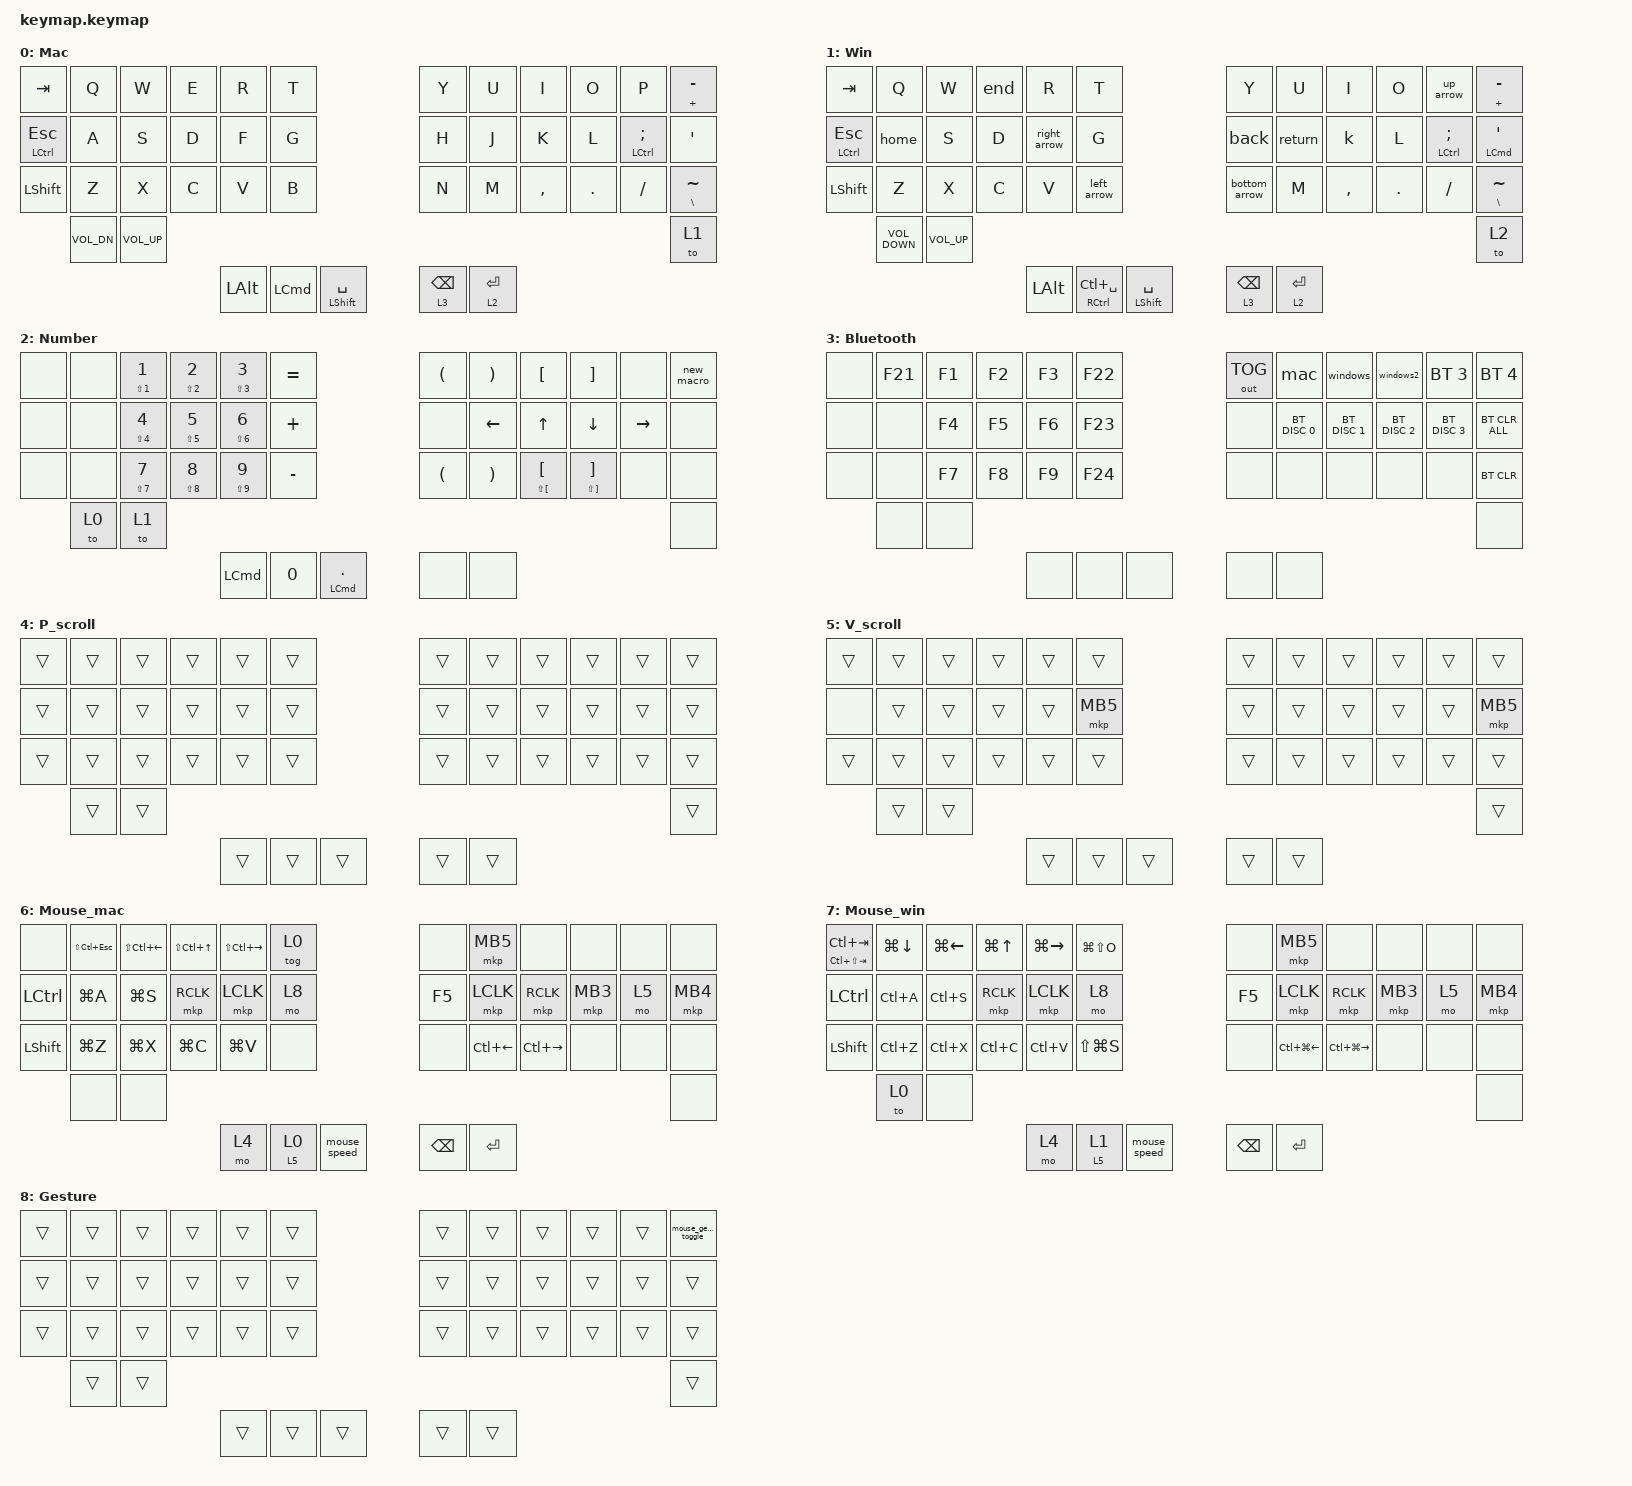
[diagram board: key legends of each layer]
#include <input/processors.dtsi>
#include <mouse-gesture.dtsi>
#include <input/processors.dtsi>
#include <behaviors.dtsi>
#include <dt-bindings/zmk/bt.h>
#include <dt-bindings/zmk/keys.h>
#include <dt-bindings/zmk/outputs.h>
#include <dt-bindings/zmk/pointing.h>

&mkp_input_listener { input-processors = <&zip_temp_layer 6 400>; };

&zip_mouse_gesture {
    stroke-size = <300>;
    enable-eager-mode;
    gesture-cooldown-ms = <10>;
    movement-threshold = <1>;

    history_back {
        pattern = <GESTURE_RIGHT>;
        bindings = <&kp LC(TAB)>;
    };

    history_forward {
        pattern = <GESTURE_LEFT>;
        bindings = <&kp LC(LS(TAB))>;
    };

    close_tab {
        pattern = <GESTURE_DOWN>;
        bindings = <&kp LC(MINUS)>;
    };

    new_tab {
        pattern = <GESTURE_UP>;
        bindings = <&kp LC(PLUS)>;
    };
};

/ {
    combos {
        compatible = "zmk,combos";
        combo_term = <250>;  // 250ミリ秒に設定
    };

    macros {
        new_macro: new_macro {
            compatible = "zmk,behavior-macro";
            #binding-cells = <0>;
            bindings = <&none &kp LS(T) &kp N2 &kp LS(E) &kp LS(E) &kp N2 &kp B &kp LS(V) &kp E &kp LS(N) &kp S &kp EXCL &kp LS(T)>;
            label = "NEW_MACRO";
        };

        mac: bt1 {
            compatible = "zmk,behavior-macro";
            #binding-cells = <0>;
            bindings = <&bt BT_SEL 0 &to 0>, <&macro_tap>;

            label = "BT1";
        };

        windows: windows {
            compatible = "zmk,behavior-macro";
            #binding-cells = <0>;
            bindings = <&bt BT_SEL 1 &tog 1>;
            label = "WINDOWS";
        };

        windows2: wondows2 {
            compatible = "zmk,behavior-macro";
            #binding-cells = <0>;
            bindings = <&bt BT_SEL 2 &tog 1>;
            label = "WONDOWS2";
        };

        control_k: control_k {
            compatible = "zmk,behavior-macro";
            #binding-cells = <0>;
            bindings = <&kp LC(LS(END)) &kp BACKSPACE>, <&macro_press>;

            label = "CONTROL_K";
        };

        zoom_win: zoom_win {
            compatible = "zmk,behavior-macro";
            #binding-cells = <0>;
            bindings = <&to 5 &kp LEFT_CONTROL>, <&macro_press>;

            label = "ZOOM_WIN";
        };

        zoom_mac: zoom_mac {
            compatible = "zmk,behavior-macro";
            #binding-cells = <0>;
            bindings = <&to 5 &mkp MB5>, <&macro_press>;

            label = "ZOOM_MAC";
        };
    };

    behaviors {
        new_behavior1: new_behavior1 {
            compatible = "zmk,behavior-tap-dance";
            label = "NEW_BEHAVIOR1";
            #binding-cells = <0>;
            bindings = <&kp BACKSPACE>, <&tog 1>;
        };

        new_hold_tap: new_hold_tap {
            compatible = "zmk,behavior-hold-tap";
            label = "NEW_HOLD_TAP";
            bindings = <&mo>, <&tog>;

            #binding-cells = <2>;
            tapping-term-ms = <0>;
        };

        back: back {
            compatible = "zmk,behavior-mod-morph";
            label = "BACK";
            bindings = <&kp H>, <&kp BACKSPACE>;

            #binding-cells = <0>;
            mods = <(MOD_LCTL)>;
        };

        return: return {
            compatible = "zmk,behavior-mod-morph";
            label = "RETURN";
            bindings = <&kp J>, <&kp RETURN>;

            #binding-cells = <0>;
            mods = <(MOD_LCTL)>;
        };

        bottom_arrow: bottom_arrow {
            compatible = "zmk,behavior-mod-morph";
            label = "BOTTOM_ARROW";
            bindings = <&kp N>, <&kp DOWN_ARROW>;

            #binding-cells = <0>;
            mods = <(MOD_LCTL)>;
        };

        up_arrow: up_arrow {
            compatible = "zmk,behavior-mod-morph";
            label = "UP_ARROW";
            bindings = <&kp P>, <&kp UP_ARROW>;

            #binding-cells = <0>;
            mods = <(MOD_LCTL)>;
        };

        left_arrow: left_arrow {
            compatible = "zmk,behavior-mod-morph";
            label = "LEFT_ARROW";
            bindings = <&kp B>, <&kp LEFT_ARROW>;

            #binding-cells = <0>;
            mods = <(MOD_LCTL)>;
        };

        right_arrow: right_arrow {
            compatible = "zmk,behavior-mod-morph";
            label = "RIGHT_ARROW";
            bindings = <&kp F>, <&kp RIGHT_ARROW>;

            #binding-cells = <0>;
            mods = <(MOD_LCTL)>;
        };

        home: home {
            compatible = "zmk,behavior-mod-morph";
            label = "HOME";
            bindings = <&kp A>, <&kp HOME>;

            #binding-cells = <0>;
            mods = <(MOD_LCTL)>;
        };

        end: end {
            compatible = "zmk,behavior-mod-morph";
            label = "END";
            bindings = <&kp E>, <&kp END>;

            #binding-cells = <0>;
            mods = <(MOD_LCTL)>;
        };

        mouse_speed: mouse_speed {
            compatible = "zmk,behavior-tap-dance";
            label = "MOUSE_SPEED";
            #binding-cells = <0>;
            bindings = <&mo 3>, <&mo 2>;
        };

        k: k {
            compatible = "zmk,behavior-mod-morph";
            label = "K";
            bindings = <&kp K>, <&control_k>;

            #binding-cells = <0>;
            mods = <(MOD_LCTL)>;
        };
    };

    keymap {
        compatible = "zmk,keymap";

        layer_0 {
            display-name = "Mac";
            bindings = <
&kp TAB               &kp Q         &kp W            &kp E  &kp R         &kp T                                   &kp Y            &kp U        &kp I      &kp O       &kp P                       &mt PLUS MINUS
&mt LEFT_CONTROL ESC  &kp A         &kp S            &kp D  &kp F         &kp G                                   &kp H            &kp J        &kp K      &kp L       &mt LEFT_CONTROL SEMICOLON  &kp SQT
&kp LEFT_SHIFT        &kp Z         &kp X            &kp C  &kp V         &kp B                                   &kp N            &kp M        &kp COMMA  &kp PERIOD  &kp SLASH                   &mt BACKSLASH TILDE
                      &kp C_VOL_DN  &kp C_VOLUME_UP                                                                                                                                                &to 1
                                                            &kp LEFT_ALT  &kp LEFT_COMMAND  &mt LEFT_SHIFT SPACE  &lt 3 BACKSPACE  &lt 2 ENTER
            >;
        };

        layer_6 {
            display-name = "Win";
            bindings = <
&kp TAB               &kp Q              &kp W            &end   &kp R         &kp T                                              &kp Y            &kp U        &kp I      &kp O       &up_arrow                   &mt PLUS MINUS
&mt LEFT_CONTROL ESC  &home              &kp S            &kp D  &right_arrow  &kp G                                              &back            &return      &k         &kp L       &mt LEFT_CONTROL SEMICOLON  &mt LEFT_COMMAND SQT
&kp LEFT_SHIFT        &kp Z              &kp X            &kp C  &kp V         &left_arrow                                        &bottom_arrow    &kp M        &kp COMMA  &kp PERIOD  &kp SLASH                   &mt BACKSLASH TILDE
                      &kp C_VOLUME_DOWN  &kp C_VOLUME_UP                                                                                                                                                           &to 2
                                                                 &kp LEFT_ALT  &mt RIGHT_CONTROL LC(SPACE)  &mt LEFT_SHIFT SPACE  &lt 3 BACKSPACE  &lt 2 ENTER
            >;
        };

        layer_2 {
            display-name = "Number";
            bindings = <
&none  &none  &mt LS(NUMBER_1) NUMBER_1  &mt LS(NUMBER_2) NUMBER_2  &mt LS(NUMBER_3) NUMBER_3  &kp EQUAL                              &kp LEFT_PARENTHESIS  &kp RIGHT_PARENTHESIS  &kp LEFT_BRACKET                   &kp RIGHT_BRACKET                    &none            &new_macro
&none  &none  &mt LS(NUMBER_4) NUMBER_4  &mt LS(N5) NUMBER_5        &mt LS(NUMBER_6) NUMBER_6  &kp PLUS                               &none                 &kp LEFT_ARROW         &kp UP_ARROW                       &kp DOWN_ARROW                       &kp RIGHT_ARROW  &none
&none  &none  &mt LS(N7) NUMBER_7        &mt LS(N8) NUMBER_8        &mt LS(N9) NUMBER_9        &kp MINUS                              &kp LEFT_PARENTHESIS  &kp RIGHT_PARENTHESIS  &mt LS(LEFT_BRACKET) LEFT_BRACKET  &mt LS(RIGHT_BRACKET) RIGHT_BRACKET  &none            &none
       &to 0  &to 1                                                                                                                                                                                                                                                         &none
                                                                    &kp LEFT_COMMAND           &kp NUMBER_0  &mt LEFT_COMMAND PERIOD  &none                 &none
            >;
        };

        layer_3 {
            display-name = "Bluetooth";
            bindings = <
&none  &kp F21  &kp F1  &kp F2  &kp F3  &kp F22         &out OUT_TOG  &mac           &windows       &windows2      &bt BT_SEL 3   &bt BT_SEL 4
&none  &none    &kp F4  &kp F5  &kp F6  &kp F23         &none         &bt BT_DISC 0  &bt BT_DISC 1  &bt BT_DISC 2  &bt BT_DISC 3  &bt BT_CLR_ALL
&none  &none    &kp F7  &kp F8  &kp F9  &kp F24         &none         &none          &none          &none          &none          &bt BT_CLR
       &none    &none                                                                                                             &none
                                &none   &none    &none  &none         &none
            >;
        };

        layer_5 {
            display-name = "P_scroll";
            bindings = <
&trans  &trans  &trans  &trans  &trans  &trans          &trans  &trans  &trans  &trans  &trans  &trans
&trans  &trans  &trans  &trans  &trans  &trans          &trans  &trans  &trans  &trans  &trans  &trans
&trans  &trans  &trans  &trans  &trans  &trans          &trans  &trans  &trans  &trans  &trans  &trans
        &trans  &trans                                                                          &trans
                                &trans  &trans  &trans  &trans  &trans
            >;
        };

        layer_4 {
            display-name = "V_scroll";
            bindings = <
&trans  &trans  &trans  &trans  &trans  &trans            &trans  &trans  &trans  &trans  &trans  &trans
&none   &trans  &trans  &trans  &trans  &mkp MB5          &trans  &trans  &trans  &trans  &trans  &mkp MB5
&trans  &trans  &trans  &trans  &trans  &trans            &trans  &trans  &trans  &trans  &trans  &trans
        &trans  &trans                                                                            &trans
                                &trans  &trans    &trans  &trans  &trans
            >;
        };

        layer_7 {
            display-name = "Mouse_mac";
            bindings = <
&none             &kp LS(LC(ESCAPE))  &kp LS(LC(LEFT_ARROW))  &kp LS(LC(UP_ARROW))  &kp LS(LC(RIGHT_ARROW))  &tog 0                           &none          &mkp MB5            &none          &none     &none  &none
&kp LEFT_CONTROL  &kp LG(A)           &kp LG(S)               &mkp RCLK             &mkp LCLK                &mo 8                            &kp F5         &mkp LCLK           &mkp RCLK      &mkp MB3  &mo 5  &mkp MB4
&kp LEFT_SHIFT    &kp LG(Z)           &kp LG(X)               &kp LG(C)             &kp LG(V)                &none                            &none          &kp LC(LEFT_ARROW)  &kp LC(RIGHT)  &none     &none  &none
                  &none               &none                                                                                                                                                                      &none
                                                                                    &mo 4                    &new_hold_tap 5 0  &mouse_speed  &kp BACKSPACE  &kp ENTER
            >;
        };

        layer_8 {
            display-name = "Mouse_win";
            bindings = <
&mt LC(LS(TAB)) LC(TAB)  &kp LG(DOWN_ARROW)  &kp LG(LEFT_ARROW)  &kp LG(UP_ARROW)  &kp LG(RIGHT_ARROW)  &kp LG(LS(O))                    &none          &mkp MB5                &none              &none     &none  &none
&kp LEFT_CONTROL         &kp LC(A)           &kp LC(S)           &mkp RCLK         &mkp LCLK            &mo 8                            &kp F5         &mkp LCLK               &mkp RCLK          &mkp MB3  &mo 5  &mkp MB4
&kp LEFT_SHIFT           &kp LC(Z)           &kp LC(X)           &kp LC(C)         &kp LC(V)            &kp LS(LG(S))                    &none          &kp LC(LG(LEFT_ARROW))  &kp LC(LG(RIGHT))  &none     &none  &none
                         &to 0               &none                                                                                                                                                                  &none
                                                                                   &mo 4                &new_hold_tap 5 1  &mouse_speed  &kp BACKSPACE  &kp RETURN
            >;
        };

        layer_9 {
            display-name = "Gesture";
            bindings = <
&trans  &trans  &trans  &trans  &trans  &trans          &trans  &trans  &trans  &trans  &trans  &mouse_gesture_toggle
&trans  &trans  &trans  &trans  &trans  &trans          &trans  &trans  &trans  &trans  &trans  &trans
&trans  &trans  &trans  &trans  &trans  &trans          &trans  &trans  &trans  &trans  &trans  &trans
        &trans  &trans                                                                          &trans
                                &trans  &trans  &trans  &trans  &trans
            >;
        };
    };

    conditional_layers {
        compatible = "zmk,conditional-layers";

        test {
            if-layers = <1 6>;
            then-layer = <7>;
        };
    };
};
